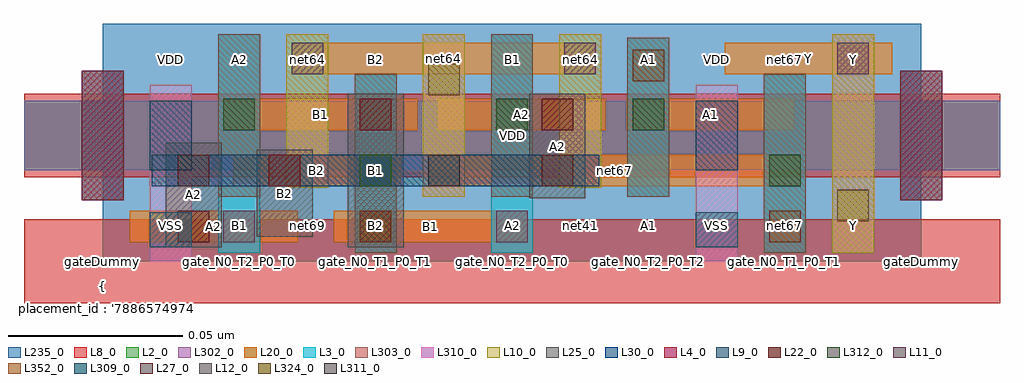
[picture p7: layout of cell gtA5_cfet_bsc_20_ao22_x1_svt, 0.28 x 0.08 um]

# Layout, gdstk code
import gdstk
lib = gdstk.Library(unit=1e-6, precision=2.5e-10)
def R(c, l, rs):  # rectangles x0, y0, x1, y1
    for r in rs: c.add(gdstk.rectangle(r[:2], r[2:], *l))
def A(c, l, x, y, w, h, nx, ny, dx, dy):  # array of equal rectangles
    R(c, l, [(x+i*dx, y+j*dy, x+i*dx+w, y+j*dy+h) for i in range(nx) for j in range(ny)])
L2_0 = (2, 0)
L3_0 = (3, 0)
L4_0 = (4, 0)
L8_0 = (8, 0)
L9_0 = (9, 0)
L10_0 = (10, 0)
L11_0 = (11, 0)
L12_0 = (12, 0)
L20_0 = (20, 0)
L22_0 = (22, 0)
L25_0 = (25, 0)
L27_0 = (27, 0)
L30_0 = (30, 0)
L235_0 = (235, 0)
L302_0 = (302, 0)
L303_0 = (303, 0)
L309_0 = (309, 0)
L310_0 = (310, 0)
L311_0 = (311, 0)
L312_0 = (312, 0)
L324_0 = (324, 0)
L352_0 = (352, 0)

gta5_cfet_bsc_20_ao22_x1 = lib.new_cell('gtA5_cfet_bsc_20_ao22_x1_svt')
R(gta5_cfet_bsc_20_ao22_x1, L2_0, [(-0.0225,0.026,0.2565,0.046)])
R(gta5_cfet_bsc_20_ao22_x1, L3_0, [(0.033,0.0025,0.045,0.065), (0.072,0.0025,0.084,0.0535), (0.111,0.0025,0.123,0.065), (0.189,0.0025,0.201,0.0535), (-0.006,0.0175,0.006,0.0545), (0.228,0.0175,0.24,0.0545), (0.15,0.0185,0.162,0.064)])
R(gta5_cfet_bsc_20_ao22_x1, L4_0, [(-0.006,0.0175,0.006,0.0545), (0.228,0.0175,0.24,0.0545)])
R(gta5_cfet_bsc_20_ao22_x1, L8_0, [(-0.0225,-0.012,0.2565,0.012), (-0.0225,0.024,0.2565,0.048)])
R(gta5_cfet_bsc_20_ao22_x1, L9_0, [(0.0135,0.026,0.0255,0.046), (0.1695,0.026,0.1815,0.046)])
R(gta5_cfet_bsc_20_ao22_x1, L10_0, [(0.2085,0.0025,0.2205,0.065), (0.0915,0.0185,0.1035,0.065), (0.0525,0.021,0.0645,0.065), (0.1305,0.021,0.1425,0.065)])
A(gta5_cfet_bsc_20_ao22_x1, L11_0, 0.054, 0.0535, 0.009, 0.009, 3, 1, 0.078, 0)
R(gta5_cfet_bsc_20_ao22_x1, L12_0, [(0.0345,0.0055,0.0435,0.0145), (0.1125,0.0055,0.1215,0.0145)])
R(gta5_cfet_bsc_20_ao22_x1, L20_0, [(0.0077,0.0055,0.0558,0.0145), (0.066,0.0055,0.1215,0.0145), (0.0372,0.0215,0.0853,0.0305), (0.093,0.0215,0.1995,0.0305), (0.0345,0.0375,0.09,0.0465), (0.0958,0.0375,0.1438,0.0465), (0.1497,0.0375,0.1978,0.0465), (0.054,0.0535,0.141,0.0625), (0.1777,0.0535,0.2258,0.0625)])
R(gta5_cfet_bsc_20_ao22_x1, L22_0, [(0.0215,0.0055,0.0305,0.0145), (0.0735,0.0055,0.0825,0.0145), (0.0475,0.0215,0.0565,0.0305), (0.0735,0.0375,0.0825,0.0465), (0.1255,0.0375,0.1345,0.0465)])
R(gta5_cfet_bsc_20_ao22_x1, L25_0, [(0.018,0.004,0.034,0.034), (0.07,0.004,0.086,0.048), (0.044,0.007,0.06,0.032), (0.122,0.018,0.138,0.048)])
R(gta5_cfet_bsc_20_ao22_x1, L27_0, [(0.0215,0.0215,0.0305,0.0305), (0.1255,0.0215,0.1345,0.0305)])
R(gta5_cfet_bsc_20_ao22_x1, L30_0, [(0.014,0.0215,0.142,0.0305)])
R(gta5_cfet_bsc_20_ao22_x1, L235_0, [(0,0,0.234,0.068)])
R(gta5_cfet_bsc_20_ao22_x1, L302_0, [(-0.0225,0.026,0.2565,0.046)])
R(gta5_cfet_bsc_20_ao22_x1, L303_0, [(0.072,0.0025,0.084,0.0535), (0.189,0.0025,0.201,0.0535), (-0.006,0.0175,0.006,0.0545), (0.228,0.0175,0.24,0.0545), (0.033,0.0185,0.045,0.065), (0.111,0.0185,0.123,0.065), (0.15,0.0185,0.162,0.064)])
R(gta5_cfet_bsc_20_ao22_x1, L309_0, [(0.0135,0.004,0.0255,0.014), (0.1695,0.004,0.1815,0.014)])
R(gta5_cfet_bsc_20_ao22_x1, L310_0, [(0.0135,0,0.0255,0.0505), (0.1695,0,0.1815,0.0505), (0.2085,0.0025,0.2205,0.065), (0.0915,0.0185,0.1035,0.065), (0.0525,0.021,0.0645,0.046), (0.1305,0.021,0.1425,0.046)])
R(gta5_cfet_bsc_20_ao22_x1, L311_0, [(0.093,0.0215,0.102,0.0305)])
R(gta5_cfet_bsc_20_ao22_x1, L312_0, [(0.0735,0.0215,0.0825,0.0305), (0.1905,0.0215,0.1995,0.0305), (0.0345,0.0375,0.0435,0.0465), (0.1125,0.0375,0.1215,0.0465), (0.1515,0.0375,0.1605,0.0465)])
R(gta5_cfet_bsc_20_ao22_x1, L324_0, [(0.21,0.0115,0.219,0.0205), (0.093,0.0475,0.102,0.0565)])
R(gta5_cfet_bsc_20_ao22_x1, L352_0, [(0.0735,0.0055,0.0825,0.0145), (0.1905,0.0055,0.1995,0.0145), (0.1515,0.0515,0.1605,0.0605)])
gta5_cfet_bsc_20_ao22_x1.add(gdstk.Label('A2', (0.0318,0.01), layer=100, texttype=100))
gta5_cfet_bsc_20_ao22_x1.add(gdstk.Label('B1', (0.0938,0.01), layer=100, texttype=100))
gta5_cfet_bsc_20_ao22_x1.add(gdstk.Label('B2', (0.0612,0.026), layer=100, texttype=100))
gta5_cfet_bsc_20_ao22_x1.add(gdstk.Label('net67', (0.1462,0.026), layer=100, texttype=100))
gta5_cfet_bsc_20_ao22_x1.add(gdstk.Label('B1', (0.0622,0.042), layer=100, texttype=100))
gta5_cfet_bsc_20_ao22_x1.add(gdstk.Label('A2', (0.1198,0.042), layer=100, texttype=100))
gta5_cfet_bsc_20_ao22_x1.add(gdstk.Label('net64', (0.0975,0.058), layer=100, texttype=100))
gta5_cfet_bsc_20_ao22_x1.add(gdstk.Label('A2', (0.026,0.019), layer=101, texttype=101))
gta5_cfet_bsc_20_ao22_x1.add(gdstk.Label('A2', (0.13,0.033), layer=101, texttype=101))
gta5_cfet_bsc_20_ao22_x1.add(gdstk.Label('gateDummy', (0,0), layer=103, texttype=103))
gta5_cfet_bsc_20_ao22_x1.add(gdstk.Label('sd_N0_VSS_P0_VDD', (0.0195,0), layer=103, texttype=103))
gta5_cfet_bsc_20_ao22_x1.add(gdstk.Label('gate_N0_T2_P0_T0', (0.039,0), layer=103, texttype=103))
gta5_cfet_bsc_20_ao22_x1.add(gdstk.Label('sd_N0_abut_P0_T3', (0.0585,0), layer=103, texttype=103))
gta5_cfet_bsc_20_ao22_x1.add(gdstk.Label('gate_N0_T1_P0_T1', (0.078,0), layer=103, texttype=103))
gta5_cfet_bsc_20_ao22_x1.add(gdstk.Label('sd_N0_T1_P0_T1', (0.0975,0), layer=103, texttype=103))
gta5_cfet_bsc_20_ao22_x1.add(gdstk.Label('gate_N0_T2_P0_T0', (0.117,0), layer=103, texttype=103))
gta5_cfet_bsc_20_ao22_x1.add(gdstk.Label('sd_N0_abut_P0_T3', (0.1365,0), layer=103, texttype=103))
gta5_cfet_bsc_20_ao22_x1.add(gdstk.Label('gate_N0_T2_P0_T2', (0.156,0), layer=103, texttype=103))
gta5_cfet_bsc_20_ao22_x1.add(gdstk.Label('sd_N0_VSS_P0_VDD', (0.1755,0), layer=103, texttype=103))
gta5_cfet_bsc_20_ao22_x1.add(gdstk.Label('gate_N0_T1_P0_T1', (0.195,0), layer=103, texttype=103))
gta5_cfet_bsc_20_ao22_x1.add(gdstk.Label('sd_N0_T3_P0_T3', (0.2145,0), layer=103, texttype=103))
gta5_cfet_bsc_20_ao22_x1.add(gdstk.Label('gateDummy', (0.234,0), layer=103, texttype=103))
gta5_cfet_bsc_20_ao22_x1.add(gdstk.Label('}', (0,-0.0742), layer=104, texttype=104))
gta5_cfet_bsc_20_ao22_x1.add(gdstk.Label('  power : None', (0,-0.0675), layer=104, texttype=104))
gta5_cfet_bsc_20_ao22_x1.add(gdstk.Label('  performance : None', (0,-0.0607), layer=104, texttype=104))
gta5_cfet_bsc_20_ao22_x1.add(gdstk.Label("  solution_hash : '4364726989787182762'", (0,-0.054), layer=104, texttype=104))
gta5_cfet_bsc_20_ao22_x1.add(gdstk.Label('  number_m2 : 1', (0,-0.0473), layer=104, texttype=104))
gta5_cfet_bsc_20_ao22_x1.add(gdstk.Label('  number_m1 : 4', (0,-0.0405), layer=104, texttype=104))
gta5_cfet_bsc_20_ao22_x1.add(gdstk.Label('  number_m0cuts : 0', (0,-0.0338), layer=104, texttype=104))
gta5_cfet_bsc_20_ao22_x1.add(gdstk.Label('  number_m0 : 9', (0,-0.027), layer=104, texttype=104))
gta5_cfet_bsc_20_ao22_x1.add(gdstk.Label("  solution_number : '0000'", (0,-0.0203), layer=104, texttype=104))
gta5_cfet_bsc_20_ao22_x1.add(gdstk.Label("  placement_id : '7886574974149906445'", (0,-0.0135), layer=104, texttype=104))
gta5_cfet_bsc_20_ao22_x1.add(gdstk.Label('{', (0,-0.0067), layer=104, texttype=104))
gta5_cfet_bsc_20_ao22_x1.add(gdstk.Label('VSS', (0.0195,0.0103), layer=105, texttype=105))
gta5_cfet_bsc_20_ao22_x1.add(gdstk.Label('B1', (0.039,0.0103), layer=105, texttype=105))
gta5_cfet_bsc_20_ao22_x1.add(gdstk.Label('net69', (0.0585,0.0103), layer=105, texttype=105))
gta5_cfet_bsc_20_ao22_x1.add(gdstk.Label('B2', (0.078,0.0103), layer=105, texttype=105))
gta5_cfet_bsc_20_ao22_x1.add(gdstk.Label('net67', (0.0975,0.0103), layer=105, texttype=105))
gta5_cfet_bsc_20_ao22_x1.add(gdstk.Label('A2', (0.117,0.0103), layer=105, texttype=105))
gta5_cfet_bsc_20_ao22_x1.add(gdstk.Label('net41', (0.1365,0.0103), layer=105, texttype=105))
gta5_cfet_bsc_20_ao22_x1.add(gdstk.Label('A1', (0.156,0.0103), layer=105, texttype=105))
gta5_cfet_bsc_20_ao22_x1.add(gdstk.Label('VSS', (0.1755,0.0103), layer=105, texttype=105))
gta5_cfet_bsc_20_ao22_x1.add(gdstk.Label('net67', (0.195,0.0103), layer=105, texttype=105))
gta5_cfet_bsc_20_ao22_x1.add(gdstk.Label('Y', (0.2145,0.0103), layer=105, texttype=105))
gta5_cfet_bsc_20_ao22_x1.add(gdstk.Label('VDD', (0.0195,0.0578), layer=105, texttype=105))
gta5_cfet_bsc_20_ao22_x1.add(gdstk.Label('A2', (0.039,0.0578), layer=105, texttype=105))
gta5_cfet_bsc_20_ao22_x1.add(gdstk.Label('net64', (0.0585,0.0578), layer=105, texttype=105))
gta5_cfet_bsc_20_ao22_x1.add(gdstk.Label('B2', (0.078,0.0578), layer=105, texttype=105))
gta5_cfet_bsc_20_ao22_x1.add(gdstk.Label('net67', (0.0975,0.0578), layer=105, texttype=105))
gta5_cfet_bsc_20_ao22_x1.add(gdstk.Label('B1', (0.117,0.0578), layer=105, texttype=105))
gta5_cfet_bsc_20_ao22_x1.add(gdstk.Label('net64', (0.1365,0.0578), layer=105, texttype=105))
gta5_cfet_bsc_20_ao22_x1.add(gdstk.Label('A1', (0.156,0.0578), layer=105, texttype=105))
gta5_cfet_bsc_20_ao22_x1.add(gdstk.Label('VDD', (0.1755,0.0578), layer=105, texttype=105))
gta5_cfet_bsc_20_ao22_x1.add(gdstk.Label('net67', (0.195,0.0578), layer=105, texttype=105))
gta5_cfet_bsc_20_ao22_x1.add(gdstk.Label('Y', (0.2145,0.0578), layer=105, texttype=105))
gta5_cfet_bsc_20_ao22_x1.add(gdstk.Label('VSS', (0.117,0), layer=8, texttype=0))
gta5_cfet_bsc_20_ao22_x1.add(gdstk.Label('VDD', (0.117,0.036), layer=8, texttype=0))
gta5_cfet_bsc_20_ao22_x1.add(gdstk.Label('A1', (0.1738,0.042), layer=20, texttype=251))
gta5_cfet_bsc_20_ao22_x1.add(gdstk.Label('Y', (0.2018,0.058), layer=20, texttype=251))
gta5_cfet_bsc_20_ao22_x1.add(gdstk.Label('B2', (0.052,0.0195), layer=25, texttype=0))
gta5_cfet_bsc_20_ao22_x1.add(gdstk.Label('B1', (0.078,0.026), layer=25, texttype=0))
gta5_cfet_bsc_20_ao22_x1.add(gdstk.Label('A2', (0.078,0.026), layer=30, texttype=251))
gta5_cfet_bsc_20_ao22_x1.add(gdstk.Label('gtA5_cfet_bsc_20nm_ao22_x1_rvt_0', (0,0), layer=235, texttype=0))

lib.write_gds('gtA5_cfet_bsc_20_ao22_x1_svt.gds')
